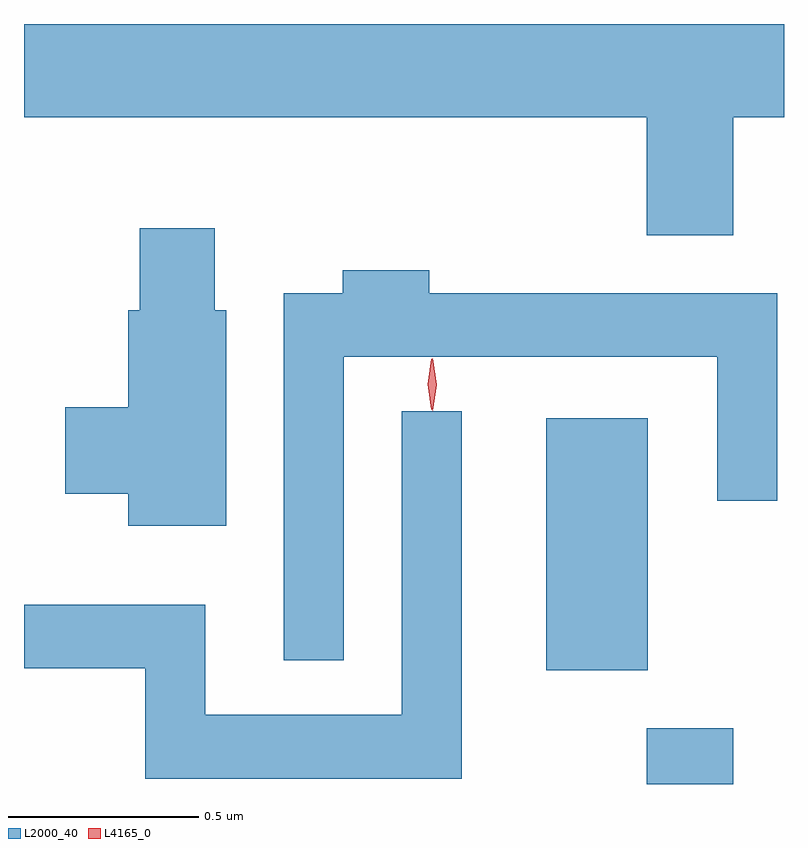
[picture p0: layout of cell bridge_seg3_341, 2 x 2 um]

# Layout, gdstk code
import gdstk
lib = gdstk.Library(unit=1e-6, precision=1e-09)
def R(c, l, rs):  # rectangles x0, y0, x1, y1
    for r in rs: c.add(gdstk.rectangle(r[:2], r[2:], *l))
def P(c, l, *ps):  # polygons
    for p in ps: c.add(gdstk.Polygon(p, *l))
L2000_40 = (2000, 40)
L4165_0 = (4165, 0)

bridge_seg3_341 = lib.new_cell('bridge_seg3_341')
R(bridge_seg3_341, L2000_40, [(530.391,1150.902,530.619,1151.049), (530.126,1151.201,530.394,1151.864)])
P(bridge_seg3_341, L2000_40, [(530.619,1152.656),(530.752,1152.656),(530.752,1152.902),(528.752,1152.902),(528.752,1152.656),(530.391,1152.656),(530.391,1152.346),(530.619,1152.346)],
  [(529.284,1152.149),(529.254,1152.149),(529.254,1152.364),(529.056,1152.364),(529.056,1152.149),(529.026,1152.149),(529.026,1151.894),(528.861,1151.894),(528.861,1151.666),(529.026,1151.666),(529.026,1151.581),(529.284,1151.581)],
  [(529.594,1152.026),(530.576,1152.026),(530.576,1151.648),(530.734,1151.648),(530.734,1152.194),(529.819,1152.194),(529.819,1152.254),(529.591,1152.254),(529.591,1152.194),(529.436,1152.194),(529.436,1151.228),(529.594,1151.228)],
  [(529.904,1151.883),(529.746,1151.883),(529.746,1151.084),(529.229,1151.084),(529.229,1151.374),(528.752,1151.374),(528.752,1151.206),(529.071,1151.206),(529.071,1150.916),(529.904,1150.916)])
P(bridge_seg3_341, L4165_0, [(529.825,1151.887),(529.824,1151.888),(529.815,1151.954),(529.824,1152.02),(529.825,1152.021),(529.826,1152.02),(529.835,1151.954),(529.826,1151.888)],
  [(529.828,1151.883),(529.827,1151.884),(529.818,1151.953),(529.827,1152.022),(529.828,1152.023),(529.828,1152.022),(529.838,1151.953),(529.828,1151.884)])

lib.write_gds('bridge_seg3_341.gds')
